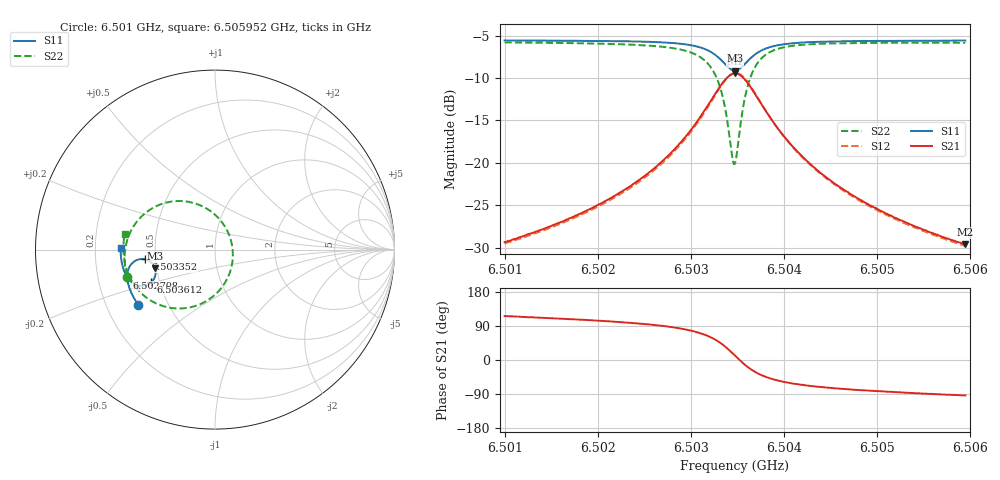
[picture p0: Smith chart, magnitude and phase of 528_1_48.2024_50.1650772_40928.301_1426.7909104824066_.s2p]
#  HZ  S  RI  R  50.00
! Rohde & Schwarz Vector Network Analyzer
! Rohde-Schwarz,ZNB20-2Port,1311601062101988,3.16
! Created: UTC 3/20/2024, 11:59:45 AM
! freq[Hz]  re:S11  im:S11  re:S21  im:S21  re:S12  im:S12  re:S22  im:S22
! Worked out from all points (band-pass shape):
!   401 points, 6.501 GHz to 6.505952 GHz, reference 50 ohm
!   highest |S21| = -9.46 dB at 6.503476 GHz (marker M1); lowest = -29.6 dB at 6.505952 GHz (marker M2)
!   |S21| within 3 dB of the highest: 6.503229 GHz to 6.503724 GHz (495.1 kHz wide, 0.00761 % of centre)
!   lowest |S11| = -9.1 dB at 6.503476 GHz (marker M3), VSWR 2.08, Z = 24.5 - j5.85 ohm
!   |S11| at or under -10 dB: nowhere
!   |S22| runs from -20.2 to -5.8 dB; largest |S21 - S12| = 0.011
!   S11 on the Smith chart (normalised r, x): 6.501 GHz: 0.34, -0.29; 6.502708 GHz: 0.33, -0.14; 6.503352 GHz: 0.44, -0.06; 6.503612 GHz: 0.45, -0.19; 6.505952 GHz: 0.31, +0.01
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6.5010002e9  -0.4284 -0.3072  -0.0149 0.0306  -0.0132 0.0306  -0.4905 -0.1511
6.5018296e9  -0.4637 -0.2456  -0.0142 0.0487  -0.0117 0.0482  -0.5033 -0.0622
6.5023e9  -0.4801 -0.2033  -0.011 0.069  -0.00805 0.0679  -0.4993 0.00568
6.5026589e9  -0.4884 -0.1629  -0.00173 0.0983  0.00163 0.0959  -0.4796 0.0791
6.5027085e9  -0.4886 -0.1565  0.000484 0.1038  0.00413 0.1013  -0.4741 0.0918
6.5029437e9  -0.4855 -0.1196  0.0232 0.1404  0.0266 0.1363  -0.4273 0.1657
6.5031046e9  -0.4712 -0.0874  0.0621 0.1764  0.0647 0.1708  -0.3517 0.2292
6.5032531e9  -0.4338 -0.0576  0.1429 0.2052  0.1434 0.1994  -0.2043 0.2707
6.5033522e9  -0.3877 -0.0544  0.2336 0.1895  0.2337 0.185  -0.0474 0.2291
6.5034388e9  -0.3449 -0.0829  0.3119 0.1156  0.3144 0.1119  0.0777 0.0843
6.5034636e9  -0.3368 -0.097  0.3254 0.0842  0.3286 0.0798  0.0948 0.0249
6.503476e9  -0.3339 -0.1047  0.3298 0.0674  0.3334 0.0624  0.0988 -0.00639
6.5035007e9  -0.3309 -0.1209  0.3334 0.0329  0.3375 0.0268  0.0971 -0.0692
6.5035379e9  -0.3328 -0.1449  0.3265 -0.0171  0.33 -0.0254  0.0704 -0.1579
6.5036121e9  -0.3548 -0.1818  0.2805 -0.0935  0.2807 -0.1045  -0.0385 -0.2808
6.5037235e9  -0.4001 -0.2021  0.1938 -0.1389  0.1891 -0.1486  -0.2134 -0.328
6.5038845e9  -0.4473 -0.1926  0.1103 -0.1355  0.1036 -0.1405  -0.3639 -0.2802
6.5040578e9  -0.4752 -0.1712  0.065 -0.1147  0.0588 -0.1169  -0.4373 -0.2138
6.5043054e9  -0.4963 -0.1413  0.0344 -0.0897  0.0297 -0.0902  -0.4815 -0.1408
6.5047139e9  -0.5129 -0.0984  0.0139 -0.064  0.0109 -0.0638  -0.5053 -0.0591
6.5051348e9  -0.5214 -0.0593  0.00519 -0.0488  0.00292 -0.0483  -0.5103 0.000528
6.5059518e9  -0.5264 0.0101  -0.00212 -0.0329  -0.00334 -0.032  -0.503 0.0878
